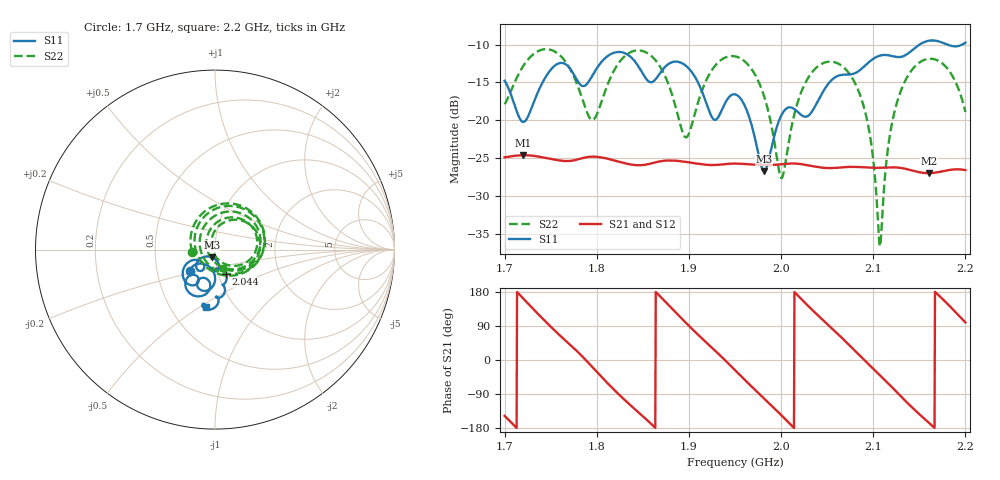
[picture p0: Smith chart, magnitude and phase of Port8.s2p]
# Hz S RI R 50
! CMT, CMT808U, 21440046, 21.4.3/4
! Date: 11/12/2025 3:11:28 PM
! Data: Format (Calibration Info)
! Freq	S11:Re/Im(F2)	S41:Re/Im(F2)	S14:Re/Im(F2)	S44:Re/Im(F2)
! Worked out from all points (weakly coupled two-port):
!   1001 points, 1.7 GHz to 2.2 GHz, reference 50 ohm
!   highest |S21| = -24.59 dB at 1.72 GHz (marker M1); lowest = -27.0 dB at 2.16 GHz (marker M2)
!   lowest |S11| = -26.7 dB at 1.982 GHz (marker M3), VSWR 1.10, Z = 48.1 - j4.13 ohm
!   |S11| at or under -10 dB: start of sweep to 2.15 GHz; 2.18 GHz to 2.197 GHz (16.39 MHz wide, 0.749 % of centre)
!   |S22| runs from -36.6 to -10.6 dB; largest |S21 - S12| = 7.7e-05
!   S11 on the Smith chart (normalised r, x): 1.7 GHz: 0.74, -0.18; 2.044 GHz: 1.09, -0.30; 2.2 GHz: 0.74, -0.53
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1.7e9  -0.1388 -0.1184  -0.0481 -0.0306  -0.0482 -0.0306  -0.127 -0.0127
1.7205e9  -0.0437 -0.0872  -0.0559 0.0187  -0.0559 0.0187  -0.0376 0.2265
1.7535e9  -0.0344 -0.2243  0.00987 0.0543  0.00985 0.0543  0.2768 0.0728
1.7835e9  -0.0632 -0.1572  0.0551 0.0111  0.0551 0.0111  0.0323 -0.1396
1.797e9  -0.0262 -0.204  0.0529 -0.0229  0.0529 -0.0229  -0.0967 -0.0318
1.827e9  -0.138 -0.2453  -0.0072 -0.0522  -0.0072 -0.0523  0.0691 0.2431
1.867e9  -0.0912 -0.1757  -0.053 0.00714  -0.053 0.00713  0.2186 -0.0844
1.897e9  -0.1797 -0.1406  -0.00688 0.0527  -0.00688 0.0528  -0.0714 -0.0296
1.927e9  -0.0762 -0.0667  0.0449 0.0236  0.0449 0.0236  0.0718 0.2117
1.95e9  -0.0976 -0.1117  0.0464 -0.0233  0.0464 -0.0233  0.2472 0.0933
1.9815e9  -0.0174 -0.0428  -0.0102 -0.0497  -0.0102 -0.0498  0.0943 -0.1096
2.0005e9  0.0219 -0.1063  -0.0427 -0.0286  -0.0427 -0.0286  -0.0392 -0.0142
2.017e9  0.000347 -0.1152  -0.0515 0.00625  -0.0515 0.00624  -0.018 0.1243
2.0335e9  0.0361 -0.1084  -0.034 0.0366  -0.034 0.0367  0.1033 0.1796
2.044e9  0.0611 -0.1358  -0.0156 0.0463  -0.0156 0.0463  0.1813 0.1506
2.0865e9  0.0532 -0.2102  0.0486 0.00767  0.0486 0.00766  0.1099 -0.0907
2.098e9  0.0515 -0.244  0.0462 -0.0153  0.0463 -0.0153  0.0272 -0.0634
2.107e9  0.0327 -0.2649  0.0376 -0.0309  0.0376 -0.0309  -0.0132 -0.0068
2.117e9  0.00972 -0.268  0.0219 -0.0438  0.0219 -0.0438  -0.0157 0.0709
2.134e9  0.0151 -0.2667  -0.013 -0.0463  -0.013 -0.0463  0.0765 0.1616
2.1605e9  -0.0279 -0.3338  -0.0435 -0.0109  -0.0435 -0.0109  0.245 0.0688
2.2e9  -0.0511 -0.3209  -0.00746 0.0464  -0.00746 0.0464  0.0459 -0.1038
